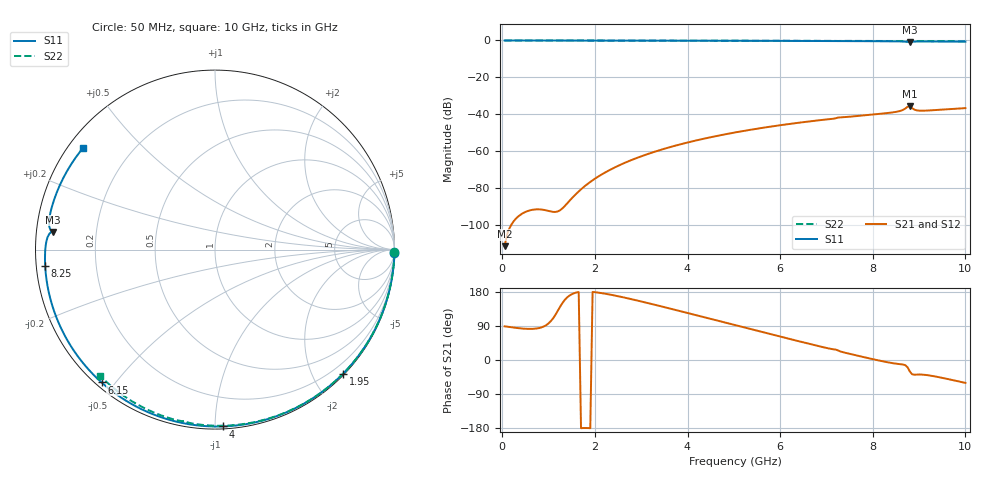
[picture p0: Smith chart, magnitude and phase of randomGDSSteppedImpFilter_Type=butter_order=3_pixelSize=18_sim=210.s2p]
! freq	dB(S11)	phase(S11)	dB(S12)	phase(S12)
!  dB(S21)	phase(S21)	dB(S22)	phase(S22)
!S-par simulation data
#  GHz  S  DB  R 50
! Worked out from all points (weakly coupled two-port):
!   200 points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, 50 MHz to 10 GHz, reference 50 ohm
!   highest |S21| = -35.72 dB at 8.8 GHz (marker M1); lowest = -111.5 dB at 50 MHz (marker M2)
!   lowest |S11| = -0.8 dB at 8.8 GHz (marker M3), VSWR 20.58, Z = 2.44 + j2.7 ohm
!   |S11| at or under -10 dB: nowhere
!   |S22| runs from -0.4 to 0.0 dB; largest |S21 - S12| = 0
!   S11 on the Smith chart (normalised r, x): 50 MHz: open; 1.95 GHz: 0.02, -2.47; 4 GHz: 0.01, -1.04; 6.15 GHz: 0.02, -0.46; 8.25 GHz: 0.03, -0.05; 10 GHz: 0.04, +0.34
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0.05  -0.00 -1.2  -111.53 88.9  -111.53 88.9  -0.00 -0.8
0.9  -0.03 -20.6  -91.86 88.7  -91.86 88.7  -0.02 -13.6
1.7  -0.05 -38.6  -80.70 -179.9  -80.70 -179.9  -0.03 -25.6
1.75  -0.05 -39.7  -79.62 -179.5  -79.62 -179.5  -0.03 -26.3
1.95  -0.06 -44.1  -75.80 179.6  -75.80 179.6  -0.04 -29.3
2.25  -0.06 -50.6  -71.17 174.4  -71.17 174.4  -0.04 -33.7
2.6  -0.07 -58.2  -66.84 165.7  -66.84 165.7  -0.05 -38.8
3.4  -0.10 -75.1  -59.46 142.5  -59.46 142.5  -0.07 -50.1
4  -0.12 -87.5  -55.32 124.1  -55.32 124.1  -0.08 -58.5
5.05  -0.17 -108.6  -49.77 91.3  -49.77 91.3  -0.11 -72.5
6.15  -0.24 -130.5  -45.44 57.2  -45.44 57.2  -0.15 -86.7
6.7  -0.28 -141.5  -43.68 40.5  -43.68 40.5  -0.18 -93.5
7.5  -0.35 -158.0  -41.35 16.3  -41.35 16.3  -0.23 -103.0
8.25  -0.44 -174.5  -39.53 -4.3  -39.53 -4.3  -0.28 -112.0
8.35  -0.46 -176.8  -39.26 -6.7  -39.26 -6.7  -0.29 -113.1
8.6  -0.54 177.1  -38.16 -11.1  -38.16 -11.1  -0.31 -116.1
8.75  -0.79 173.6  -35.99 -19.0  -35.99 -19.0  -0.32 -117.8
8.8  -0.84 173.8  -35.72 -30.2  -35.72 -30.2  -0.32 -118.4
8.9  -0.61 172.1  -37.51 -38.9  -37.51 -38.9  -0.33 -119.5
9  -0.55 169.2  -38.06 -38.2  -38.06 -38.2  -0.34 -120.7
9.5  -0.58 156.1  -37.50 -47.1  -37.50 -47.1  -0.39 -126.5
10  -0.65 142.4  -36.68 -60.5  -36.68 -60.5  -0.44 -132.2
